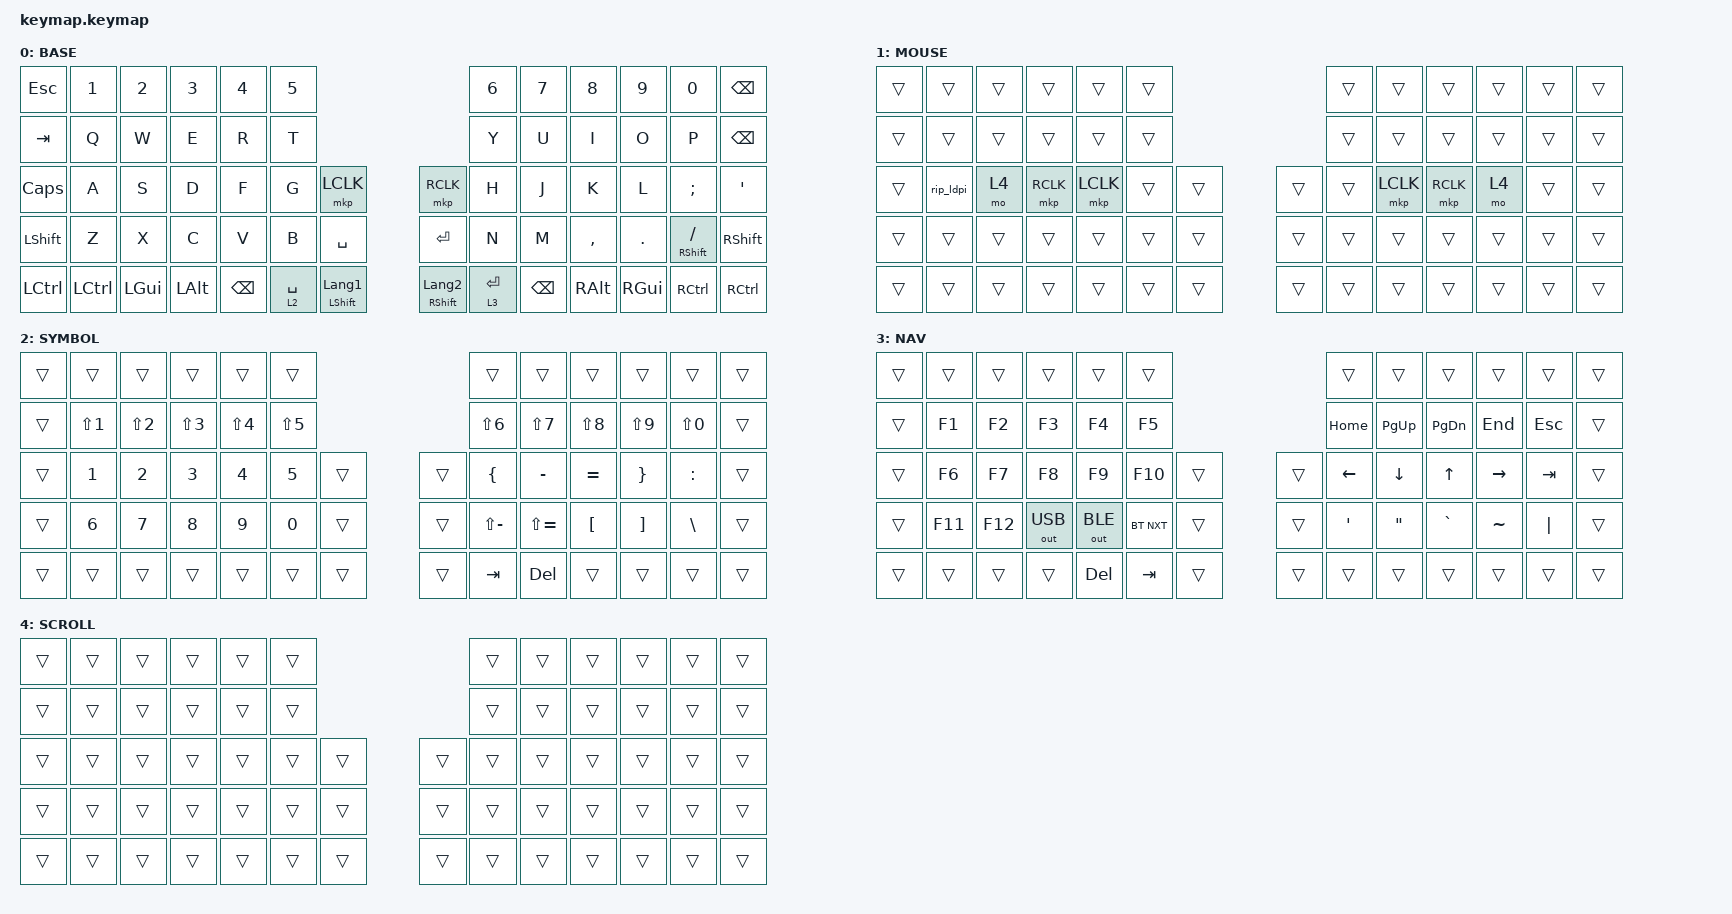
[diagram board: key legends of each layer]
#include <behaviors.dtsi>
#include <dt-bindings/zmk/bt.h>
#include <dt-bindings/zmk/keys.h>
#include <dt-bindings/zmk/outputs.h>
#include <dt-bindings/zmk/pointing.h>
#include <behaviors/runtime-input-processor.dtsi>

// ---- トラックボールの初期設定 (DYA Studio から実行時に変更・保存できる) ----
// オートマウスレイヤー: ボールを動かすと layer 1 (MOUSE) を自動で有効化
//   activation-delay   : 直前のキー入力からこの時間はAMLを発動しない(タイピング中の誤発動防止)
//   deactivation-delay : ボールを止めてからAMLを解除するまでの時間
//   MOUSE レイヤーで &trans 以外のキー(クリック等)や修飾キーを押してもAMLは解除されない
&mouse_runtime_input_processor {
    temp-layer-enabled;
    temp-layer = <1>;
    temp-layer-activation-delay-ms = <200>;
    temp-layer-deactivation-delay-ms = <800>;
};

// スクロール: layer 4 (SCROLL) が有効な間だけボールの動きをスクロールに変換
&scroll_runtime_input_processor {
    active-layers = <(1 << 4)>;
    scale-multiplier = <1>;
    scale-divisor = <8>;
};

// 精密モード: 押している間ポインタ速度を 1/2 にする
&rip_ldpi {
    display-name = "Precision (0.5x)";
    scale-multiplier = <1>;
    scale-divisor = <2>;
};

/ {
    combos {
        compatible = "zmk,combos";

        bt_clear {
            bindings = <&bt BT_CLR>;
            key-positions = <28 29>;
            layers = <2>;
        };
    };

    keymap {
        compatible = "zmk,keymap";

        layer_0 {
            display-name = "BASE";
            bindings = <
&kp ESC    &kp N1     &kp N2    &kp N3    &kp N4    &kp N5                                                         &kp N6       &kp N7    &kp N8     &kp N9    &kp N0                &kp BSPC
&kp TAB    &kp Q      &kp W     &kp E     &kp R     &kp T                                                          &kp Y        &kp U     &kp I      &kp O     &kp P                 &kp BSPC
&kp CAPS   &kp A      &kp S     &kp D     &kp F     &kp G        &mkp LCLK                  &mkp RCLK              &kp H        &kp J     &kp K      &kp L     &kp SEMI              &kp SQT
&kp LSHFT  &kp Z      &kp X     &kp C     &kp V     &kp B        &kp SPACE                  &kp RET                &kp N        &kp M     &kp COMMA  &kp DOT   &mt RIGHT_SHIFT FSLH  &kp RSHFT
&kp LCTRL  &kp LCTRL  &kp LGUI  &kp LALT  &kp BSPC  &lt 2 SPACE  &mt LEFT_SHIFT LANGUAGE_1  &mt RSHIFT LANGUAGE_2  &lt 3 ENTER  &kp BSPC  &kp RALT   &kp RGUI  &kp RCTRL             &kp RCTRL
            >;
        };

        layer_1 {
            display-name = "MOUSE";
            bindings = <
&trans  &trans      &trans  &trans     &trans     &trans                  &trans  &trans     &trans     &trans  &trans  &trans
&trans  &trans      &trans  &trans     &trans     &trans                  &trans  &trans     &trans     &trans  &trans  &trans
&trans  &rip_ldpi   &mo 4   &mkp RCLK  &mkp LCLK  &trans  &trans  &trans  &trans  &mkp LCLK  &mkp RCLK  &mo 4   &trans  &trans
&trans  &trans      &trans  &trans     &trans     &trans  &trans  &trans  &trans  &trans     &trans     &trans  &trans  &trans
&trans  &trans      &trans  &trans     &trans     &trans  &trans  &trans  &trans  &trans     &trans     &trans  &trans  &trans
            >;
        };

        layer_2 {
            display-name = "SYMBOL";
            bindings = <
&trans  &trans            &trans            &trans      &trans      &trans                      &trans          &trans         &trans            &trans             &trans         &trans
&trans  &kp LS(NUMBER_1)  &kp LS(NUMBER_2)  &kp LS(N3)  &kp LS(N4)  &kp LS(N5)                  &kp LS(N6)      &kp LS(N7)     &kp LS(N8)        &kp LS(N9)         &kp LS(N0)     &trans
&trans  &kp N1            &kp N2            &kp N3      &kp N4      &kp N5      &trans  &trans  &kp LEFT_BRACE  &kp MINUS      &kp EQUAL         &kp RIGHT_BRACE    &kp COLON      &trans
&trans  &kp N6            &kp N7            &kp N8      &kp N9      &kp N0      &trans  &trans  &kp LS(MINUS)   &kp LS(EQUAL)  &kp LEFT_BRACKET  &kp RIGHT_BRACKET  &kp BACKSLASH  &trans
&trans  &trans            &trans            &trans      &trans      &trans      &trans  &trans  &kp TAB         &kp DEL        &trans            &trans             &trans         &trans
            >;
        };

        layer_3 {
            display-name = "NAV";
            bindings = <
&trans  &trans   &trans   &trans        &trans        &trans                      &trans            &trans     &trans         &trans     &trans      &trans
&trans  &kp F1   &kp F2   &kp F3        &kp F4        &kp F5                      &kp HOME          &kp PG_UP  &kp PAGE_DOWN  &kp END    &kp ESCAPE  &trans
&trans  &kp F6   &kp F7   &kp F8        &kp F9        &kp F10     &trans  &trans  &kp LEFT          &kp DOWN   &kp UP_ARROW   &kp RIGHT  &kp TAB     &trans
&trans  &kp F11  &kp F12  &out OUT_USB  &out OUT_BLE  &bt BT_NXT  &trans  &trans  &kp SINGLE_QUOTE  &kp DQT    &kp GRAVE      &kp TILDE  &kp PIPE    &trans
&trans  &trans   &trans   &trans        &kp DELETE    &kp TAB     &trans  &trans  &trans            &trans     &trans         &trans     &trans      &trans
            >;
        };

        layer_4 {
            display-name = "SCROLL";
            bindings = <
&trans  &trans  &trans  &trans  &trans  &trans                  &trans  &trans  &trans  &trans  &trans  &trans
&trans  &trans  &trans  &trans  &trans  &trans                  &trans  &trans  &trans  &trans  &trans  &trans
&trans  &trans  &trans  &trans  &trans  &trans  &trans  &trans  &trans  &trans  &trans  &trans  &trans  &trans
&trans  &trans  &trans  &trans  &trans  &trans  &trans  &trans  &trans  &trans  &trans  &trans  &trans  &trans
&trans  &trans  &trans  &trans  &trans  &trans  &trans  &trans  &trans  &trans  &trans  &trans  &trans  &trans
            >;
        };
    };
};
